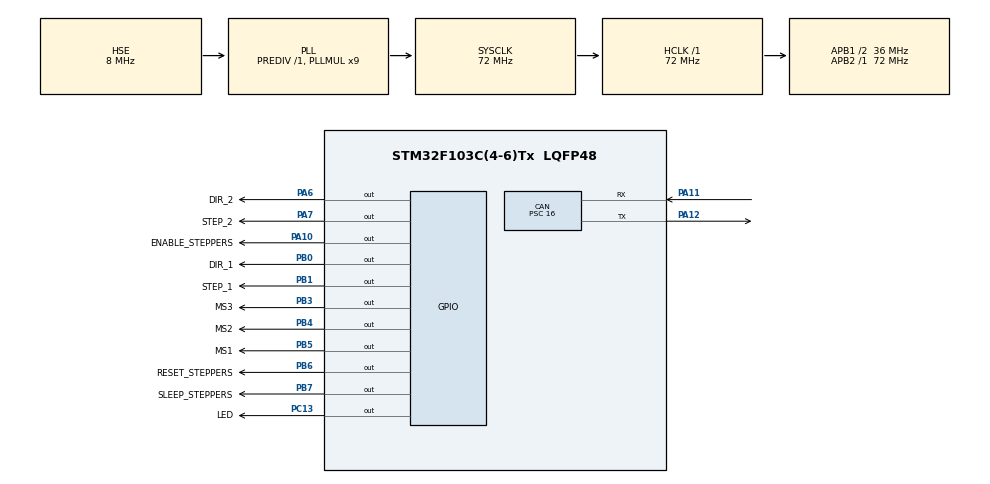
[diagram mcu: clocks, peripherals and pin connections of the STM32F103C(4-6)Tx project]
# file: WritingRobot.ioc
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CAN.AWUM=DISABLE
CAN.BS1=CAN_BS1_15TQ
CAN.BS2=CAN_BS2_2TQ
CAN.CalculateBaudRate=125000
CAN.CalculateTimeBit=8000
CAN.CalculateTimeQuantum=444.44444444444446
CAN.Mode=CAN_MODE_NORMAL
CAN.NART=ENABLE
CAN.Prescaler=16
CAN.RFLM=DISABLE
CAN.SJW=CAN_SJW_1TQ
CAN.TTCM=DISABLE
Mcu.Family=STM32F1
Mcu.Name=STM32F103C(4-6)Tx
Mcu.Package=LQFP48
NVIC.CAN1_RX1_IRQn=true\:1\:0\:true\:false\:true\:true\:true\:true
NVIC.CAN1_SCE_IRQn=true\:0\:0\:false\:false\:true\:true\:true\:true
NVIC.PriorityGroup=NVIC_PRIORITYGROUP_4
NVIC.TIM2_IRQn=true\:0\:0\:false\:true\:true\:1\:true\:true\:true
NVIC.TIM3_IRQn=true\:0\:0\:false\:false\:true\:true\:true\:true
NVIC.USB_LP_CAN1_RX0_IRQn=true\:0\:0\:false\:false\:true\:true\:true\:true
PA10.GPIO_Label=ENABLE_STEPPERS
PA10.PinState=GPIO_PIN_RESET
PA10.Signal=GPIO_Output
PA11.GPIO_Mode=GPIO_MODE_INPUT
PA11.GPIO_PuPd=GPIO_PULLUP
PA11.Mode=CAN_Activate
PA11.Signal=CAN_RX
PA12.Mode=CAN_Activate
PA12.Signal=CAN_TX
PA13.Mode=Serial_Wire
PA13.Signal=SYS_JTMS-SWDIO
PA14.Mode=Serial_Wire
PA14.Signal=SYS_JTCK-SWCLK
PA6.GPIO_Label=DIR_2
PA6.Signal=GPIO_Output
PA7.GPIO_Label=STEP_2
PA7.GPIO_Speed=GPIO_SPEED_FREQ_HIGH
PA7.Signal=GPIO_Output
PB0.GPIO_Label=DIR_1
PB0.Signal=GPIO_Output
PB1.GPIO_Label=STEP_1
PB1.GPIO_Speed=GPIO_SPEED_FREQ_HIGH
PB1.Signal=GPIO_Output
PB3.GPIO_Label=MS3
PB3.PinState=GPIO_PIN_SET
PB3.Signal=GPIO_Output
PB4.GPIO_Label=MS2
PB4.PinState=GPIO_PIN_SET
PB4.Signal=GPIO_Output
PB5.GPIO_Label=MS1
PB5.PinState=GPIO_PIN_SET
PB5.Signal=GPIO_Output
PB6.GPIO_Label=RESET_STEPPERS
PB6.PinState=GPIO_PIN_SET
PB6.Signal=GPIO_Output
PB7.GPIO_Label=SLEEP_STEPPERS
PB7.PinState=GPIO_PIN_RESET
PB7.Signal=GPIO_Output
PC13-TAMPER-RTC.GPIO_Label=LED
PC13-TAMPER-RTC.Signal=GPIO_Output
PD0-OSC_IN.Mode=HSE-External-Oscillator
PD0-OSC_IN.Signal=RCC_OSC_IN
PD1-OSC_OUT.Mode=HSE-External-Oscillator
PD1-OSC_OUT.Signal=RCC_OSC_OUT
ProjectManager.HeapSize=0x200
ProjectManager.StackSize=0x400
ProjectManager.TargetToolchain=STM32CubeIDE
RCC.AHBFreq_Value=72000000
RCC.APB1CLKDivider=RCC_HCLK_DIV2
RCC.APB1Freq_Value=36000000
RCC.APB1TimFreq_Value=72000000
RCC.APB2Freq_Value=72000000
RCC.APB2TimFreq_Value=72000000
RCC.HCLKFreq_Value=72000000
RCC.PLLMUL=RCC_PLL_MUL9
RCC.PLLSourceVirtual=RCC_PLLSOURCE_HSE
RCC.SYSCLKFreq_VALUE=72000000
RCC.SYSCLKSource=RCC_SYSCLKSOURCE_PLLCLK
RCC.USBFreq_Value=72000000
TIM1.Prescaler=720-1
TIM2.Period=100-1
TIM2.Prescaler=72-1
TIM3.Prescaler=72-1
VP_TIM1_VS_ClockSourceINT.Mode=Internal
VP_TIM2_VS_ClockSourceINT.Mode=Internal
VP_TIM3_VS_ClockSourceINT.Mode=Internal
board=custom

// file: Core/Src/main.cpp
/* USER CODE BEGIN Header */
/**
 ******************************************************************************
 * @file           : main.c
 * @brief          : Main program body
 ******************************************************************************
 * @attention
 *
 * Copyright (c) 2025 STMicroelectronics.
 * All rights reserved.
 *
 * This software is licensed under terms that can be found in the LICENSE file
 * in the root directory of this software component.
 * If no LICENSE file comes with this software, it is provided AS-IS.
 *
 ******************************************************************************
 */
/* USER CODE END Header */
#include "main.h"

CAN_HandleTypeDef hcan;

TIM_HandleTypeDef htim1;
TIM_HandleTypeDef htim2;
TIM_HandleTypeDef htim3;

void SystemClock_Config(void);
static void MX_GPIO_Init(void);
static void MX_CAN_Init(void);
static void MX_TIM2_Init(void);
static void MX_TIM1_Init(void);
static void MX_TIM3_Init(void);
static void MX_NVIC_Init(void);

/* USER CODE BEGIN 0 */

void HAL_TIM_PeriodElapsedCallback(TIM_HandleTypeDef *htim)
{
	if (htim->Instance == TIM2)
	{
		// Your interrupt code here (runs every 100 µs)
		HAL_GPIO_TogglePin(STEP_1_GPIO_Port, STEP_1_Pin);
		HAL_GPIO_TogglePin(STEP_2_GPIO_Port, STEP_2_Pin);
	}
}

void update_timer_period_us(uint32_t microseconds)
{
	uint32_t ticks = microseconds - 1; // at 1 MHz base
	__HAL_TIM_DISABLE(&htim2);         // optional: stop timer briefly
	__HAL_TIM_SET_AUTORELOAD(&htim2, ticks);
	__HAL_TIM_SET_COUNTER(&htim2, 0);  // reset counter if you want a clean start
	__HAL_TIM_ENABLE(&htim2);          // restart
}

/* USER CODE END 0 */

int main(void)
{

	/* MCU Configuration--------------------------------------------------------*/

	/* Reset of all peripherals, Initializes the Flash interface and the Systick. */
	HAL_Init();

	/* Configure the system clock */
	SystemClock_Config();

	/* Initialize all configured peripherals */
	MX_GPIO_Init();
	MX_CAN_Init();
	MX_TIM2_Init();
	MX_TIM1_Init();
	MX_TIM3_Init();

	/* Initialize interrupts */
	MX_NVIC_Init();
	/* USER CODE BEGIN 2 */
	// Enable interrupts
	HAL_TIM_Base_Start_IT(&htim2);

	// Enable stepper motors
	HAL_GPIO_WritePin(ENABLE_STEPPERS_GPIO_Port, ENABLE_STEPPERS_Pin, GPIO_PIN_RESET);
	HAL_GPIO_WritePin(SLEEP_STEPPERS_GPIO_Port, SLEEP_STEPPERS_Pin, GPIO_PIN_SET);
	HAL_GPIO_WritePin(RESET_STEPPERS_GPIO_Port, RESET_STEPPERS_Pin, GPIO_PIN_SET);

	HAL_GPIO_WritePin(DIR_1_GPIO_Port, DIR_1_Pin, GPIO_PIN_RESET);
	HAL_GPIO_WritePin(DIR_2_GPIO_Port, DIR_2_Pin, GPIO_PIN_RESET);
	HAL_GPIO_WritePin(STEP_1_GPIO_Port, STEP_1_Pin, GPIO_PIN_RESET);
	HAL_GPIO_WritePin(STEP_2_GPIO_Port, STEP_2_Pin, GPIO_PIN_RESET);

	TCurve curve;

	curve.setAcceleration(50.0f);
	curve.setDeltaPhi(10.0f);
	curve.setMaxVelocity(25.0f);

	if(curve.recalculateInternalVariables() != TCurveError::OK) Error_Handler();

	float t_max = curve.getTMax();

	/* USER CODE END 2 */

	/* Infinite loop */
	/* USER CODE BEGIN WHILE */
	uint32_t new_period = 200 - 1;   // 200 µs
	while (1)
	{
		/* USER CODE END WHILE */

		/* USER CODE BEGIN 3 */
		HAL_GPIO_TogglePin(LED_GPIO_Port, LED_Pin);
		HAL_Delay(500);
	}
	/* USER CODE END 3 */
}

void SystemClock_Config(void)
{
	RCC_OscInitTypeDef RCC_OscInitStruct = {0};
	RCC_ClkInitTypeDef RCC_ClkInitStruct = {0};

	/** Initializes the RCC Oscillators according to the specified parameters
	 * in the RCC_OscInitTypeDef structure.
	 */
	RCC_OscInitStruct.OscillatorType = RCC_OSCILLATORTYPE_HSE;
	RCC_OscInitStruct.HSEState = RCC_HSE_ON;
	RCC_OscInitStruct.HSEPredivValue = RCC_HSE_PREDIV_DIV1;
	RCC_OscInitStruct.HSIState = RCC_HSI_ON;
	RCC_OscInitStruct.PLL.PLLState = RCC_PLL_ON;
	RCC_OscInitStruct.PLL.PLLSource = RCC_PLLSOURCE_HSE;
	RCC_OscInitStruct.PLL.PLLMUL = RCC_PLL_MUL9;
	if (HAL_RCC_OscConfig(&RCC_OscInitStruct) != HAL_OK)
	{
		Error_Handler();
	}

	/** Initializes the CPU, AHB and APB buses clocks
	 */
	RCC_ClkInitStruct.ClockType = RCC_CLOCKTYPE_HCLK|RCC_CLOCKTYPE_SYSCLK
			|RCC_CLOCKTYPE_PCLK1|RCC_CLOCKTYPE_PCLK2;
	RCC_ClkInitStruct.SYSCLKSource = RCC_SYSCLKSOURCE_PLLCLK;
	RCC_ClkInitStruct.AHBCLKDivider = RCC_SYSCLK_DIV1;
	RCC_ClkInitStruct.APB1CLKDivider = RCC_HCLK_DIV2;
	RCC_ClkInitStruct.APB2CLKDivider = RCC_HCLK_DIV1;

	if (HAL_RCC_ClockConfig(&RCC_ClkInitStruct, FLASH_LATENCY_2) != HAL_OK)
	{
		Error_Handler();
	}
}

/**
 * @brief NVIC Configuration.
 * @retval None
 */
static void MX_NVIC_Init(void)
{
	/* TIM2_IRQn interrupt configuration */
	HAL_NVIC_SetPriority(TIM2_IRQn, 0, 0);
	HAL_NVIC_EnableIRQ(TIM2_IRQn);
}

static void MX_CAN_Init(void)
{

	hcan.Instance = CAN1;
	hcan.Init.Prescaler = 16;
	hcan.Init.Mode = CAN_MODE_NORMAL;
	hcan.Init.SyncJumpWidth = CAN_SJW_1TQ;
	hcan.Init.TimeSeg1 = CAN_BS1_15TQ;
	hcan.Init.TimeSeg2 = CAN_BS2_2TQ;
	hcan.Init.TimeTriggeredMode = DISABLE;
	hcan.Init.AutoBusOff = DISABLE;
	hcan.Init.AutoWakeUp = DISABLE;
	hcan.Init.AutoRetransmission = ENABLE;
	hcan.Init.ReceiveFifoLocked = DISABLE;
	hcan.Init.TransmitFifoPriority = DISABLE;
	if (HAL_CAN_Init(&hcan) != HAL_OK)
	{
		Error_Handler();
	}

}

static void MX_TIM1_Init(void)
{

	TIM_ClockConfigTypeDef sClockSourceConfig = {0};
	TIM_MasterConfigTypeDef sMasterConfig = {0};

	htim1.Instance = TIM1;
	htim1.Init.Prescaler = 720-1;
	htim1.Init.CounterMode = TIM_COUNTERMODE_UP;
	htim1.Init.Period = 65535;
	htim1.Init.ClockDivision = TIM_CLOCKDIVISION_DIV1;
	htim1.Init.RepetitionCounter = 0;
	htim1.Init.AutoReloadPreload = TIM_AUTORELOAD_PRELOAD_DISABLE;
	if (HAL_TIM_Base_Init(&htim1) != HAL_OK)
	{
		Error_Handler();
	}
	sClockSourceConfig.ClockSource = TIM_CLOCKSOURCE_INTERNAL;
	if (HAL_TIM_ConfigClockSource(&htim1, &sClockSourceConfig) != HAL_OK)
	{
		Error_Handler();
	}
	sMasterConfig.MasterOutputTrigger = TIM_TRGO_RESET;
	sMasterConfig.MasterSlaveMode = TIM_MASTERSLAVEMODE_DISABLE;
	if (HAL_TIMEx_MasterConfigSynchronization(&htim1, &sMasterConfig) != HAL_OK)
	{
		Error_Handler();
	}

}

static void MX_TIM2_Init(void)
{

	TIM_ClockConfigTypeDef sClockSourceConfig = {0};
	TIM_MasterConfigTypeDef sMasterConfig = {0};

	htim2.Instance = TIM2;
	htim2.Init.Prescaler = 72-1;
	htim2.Init.CounterMode = TIM_COUNTERMODE_UP;
	htim2.Init.Period = 100-1;
	htim2.Init.ClockDivision = TIM_CLOCKDIVISION_DIV1;
	htim2.Init.AutoReloadPreload = TIM_AUTORELOAD_PRELOAD_DISABLE;
	if (HAL_TIM_Base_Init(&htim2) != HAL_OK)
	{
		Error_Handler();
	}
	sClockSourceConfig.ClockSource = TIM_CLOCKSOURCE_INTERNAL;
	if (HAL_TIM_ConfigClockSource(&htim2, &sClockSourceConfig) != HAL_OK)
	{
		Error_Handler();
	}
	sMasterConfig.MasterOutputTrigger = TIM_TRGO_RESET;
	sMasterConfig.MasterSlaveMode = TIM_MASTERSLAVEMODE_DISABLE;
	if (HAL_TIMEx_MasterConfigSynchronization(&htim2, &sMasterConfig) != HAL_OK)
	{
		Error_Handler();
	}

}

static void MX_TIM3_Init(void)
{

	TIM_ClockConfigTypeDef sClockSourceConfig = {0};
	TIM_MasterConfigTypeDef sMasterConfig = {0};

	htim3.Instance = TIM3;
	htim3.Init.Prescaler = 72-1;
	htim3.Init.CounterMode = TIM_COUNTERMODE_UP;
	htim3.Init.Period = 65535;
	htim3.Init.ClockDivision = TIM_CLOCKDIVISION_DIV1;
	htim3.Init.AutoReloadPreload = TIM_AUTORELOAD_PRELOAD_DISABLE;
	if (HAL_TIM_Base_Init(&htim3) != HAL_OK)
	{
		Error_Handler();
	}
	sClockSourceConfig.ClockSource = TIM_CLOCKSOURCE_INTERNAL;
	if (HAL_TIM_ConfigClockSource(&htim3, &sClockSourceConfig) != HAL_OK)
	{
		Error_Handler();
	}
	sMasterConfig.MasterOutputTrigger = TIM_TRGO_RESET;
	sMasterConfig.MasterSlaveMode = TIM_MASTERSLAVEMODE_DISABLE;
	if (HAL_TIMEx_MasterConfigSynchronization(&htim3, &sMasterConfig) != HAL_OK)
	{
		Error_Handler();
	}

}

static void MX_GPIO_Init(void)
{
	GPIO_InitTypeDef GPIO_InitStruct = {0};

	/* GPIO Ports Clock Enable */
	__HAL_RCC_GPIOC_CLK_ENABLE();
	__HAL_RCC_GPIOD_CLK_ENABLE();
	__HAL_RCC_GPIOA_CLK_ENABLE();
	__HAL_RCC_GPIOB_CLK_ENABLE();

	/*Configure GPIO pin Output Level */
	HAL_GPIO_WritePin(LED_GPIO_Port, LED_Pin, GPIO_PIN_RESET);

	/*Configure GPIO pin Output Level */
	HAL_GPIO_WritePin(GPIOA, DIR_2_Pin|STEP_2_Pin|ENABLE_STEPPERS_Pin, GPIO_PIN_RESET);

	/*Configure GPIO pin Output Level */
	HAL_GPIO_WritePin(GPIOB, DIR_1_Pin|STEP_1_Pin|SLEEP_STEPPERS_Pin, GPIO_PIN_RESET);

	/*Configure GPIO pin Output Level */
	HAL_GPIO_WritePin(GPIOB, MS3_Pin|MS2_Pin|MS1_Pin|RESET_STEPPERS_Pin, GPIO_PIN_SET);

	/*Configure GPIO pin : LED_Pin */
	GPIO_InitStruct.Pin = LED_Pin;
	GPIO_InitStruct.Mode = GPIO_MODE_OUTPUT_PP;
	GPIO_InitStruct.Pull = GPIO_NOPULL;
	GPIO_InitStruct.Speed = GPIO_SPEED_FREQ_LOW;
	HAL_GPIO_Init(LED_GPIO_Port, &GPIO_InitStruct);

	/*Configure GPIO pins : DIR_2_Pin ENABLE_STEPPERS_Pin */
	GPIO_InitStruct.Pin = DIR_2_Pin|ENABLE_STEPPERS_Pin;
	GPIO_InitStruct.Mode = GPIO_MODE_OUTPUT_PP;
	GPIO_InitStruct.Pull = GPIO_NOPULL;
	GPIO_InitStruct.Speed = GPIO_SPEED_FREQ_LOW;
	HAL_GPIO_Init(GPIOA, &GPIO_InitStruct);

	/*Configure GPIO pin : STEP_2_Pin */
	GPIO_InitStruct.Pin = STEP_2_Pin;
	GPIO_InitStruct.Mode = GPIO_MODE_OUTPUT_PP;
	GPIO_InitStruct.Pull = GPIO_NOPULL;
	GPIO_InitStruct.Speed = GPIO_SPEED_FREQ_HIGH;
	HAL_GPIO_Init(STEP_2_GPIO_Port, &GPIO_InitStruct);

	/*Configure GPIO pins : DIR_1_Pin MS3_Pin MS2_Pin MS1_Pin
                           RESET_STEPPERS_Pin SLEEP_STEPPERS_Pin */
	GPIO_InitStruct.Pin = DIR_1_Pin|MS3_Pin|MS2_Pin|MS1_Pin
			|RESET_STEPPERS_Pin|SLEEP_STEPPERS_Pin;
	GPIO_InitStruct.Mode = GPIO_MODE_OUTPUT_PP;
	GPIO_InitStruct.Pull = GPIO_NOPULL;
	GPIO_InitStruct.Speed = GPIO_SPEED_FREQ_LOW;
	HAL_GPIO_Init(GPIOB, &GPIO_InitStruct);

	/*Configure GPIO pin : STEP_1_Pin */
	GPIO_InitStruct.Pin = STEP_1_Pin;
	GPIO_InitStruct.Mode = GPIO_MODE_OUTPUT_PP;
	GPIO_InitStruct.Pull = GPIO_NOPULL;
	GPIO_InitStruct.Speed = GPIO_SPEED_FREQ_HIGH;
	HAL_GPIO_Init(STEP_1_GPIO_Port, &GPIO_InitStruct);

}

void Error_Handler(void)
{
	__disable_irq();
	while (1)
	{
	}
}
